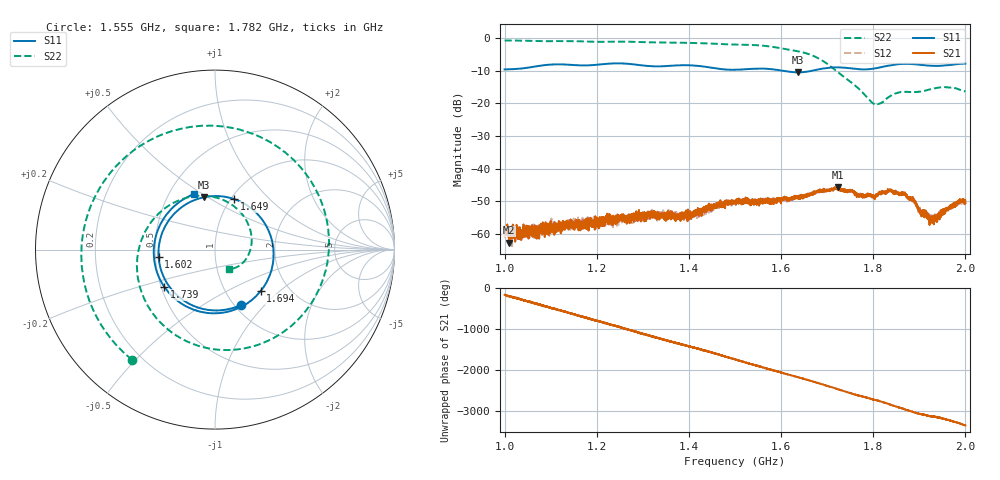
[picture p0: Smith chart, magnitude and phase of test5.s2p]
!Keysight Technologies N9923A: A.08.15
!Date: Friday, 16 February 2024 15:25:30
!Timezone: (GMT-05:00) Eastern Time (US & Canada)
!Model: N9923A
!Serial: MY52412730
!GPS Latitude:
!GPS Longitude:
!GPS TimeStamp: 0001-01-01 00:00:00Z
!GPS Seconds Since Last Read: 0
!CHECKSUM:0506076467
!Correction: S11(ON Q)S21(ON Q)S12(ON Q)S22(ON Q)
!S2P File: Measurements:S11,S21,S12,S22:
# Hz S DB R 50
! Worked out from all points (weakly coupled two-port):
!   4001 points, 1 GHz to 2 GHz, reference 50 ohm
!   highest |S21| = -45.72 dB at 1.722 GHz (marker M1); lowest = -62.6 dB at 1.01 GHz (marker M2)
!   lowest |S11| = -10.5 dB at 1.636 GHz (marker M3), VSWR 1.85, Z = 37.7 + j24.2 ohm
!   |S11| at or under -10 dB: 1.603 GHz to 1.668 GHz (64.94 MHz wide, 3.97 % of centre)
!   |S22| runs from -20.3 to -0.8 dB; largest |S21 - S12| = 0.00086
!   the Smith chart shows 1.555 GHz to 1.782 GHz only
!   S11 on the Smith chart (normalised r, x): 1.555 GHz: 1.07, -0.75; 1.602 GHz: 0.52, -0.05; 1.649 GHz: 1.03, +0.64; 1.694 GHz: 1.45, -0.76; 1.739 GHz: 0.52, -0.25; 1.782 GHz: 0.66, +0.46
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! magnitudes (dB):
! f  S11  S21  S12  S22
! 1 GHz  -9.6  -58.5  -59.4  -0.8
! 1.01 GHz  -9.6  -62.6  -59.3  -0.8
! 1.036 GHz  -9.3  -59.0  -59.4  -0.8
! 1.167 GHz  -8.4  -58.3  -56.6  -1.0
! 1.333 GHz  -8.7  -54.2  -53.8  -1.4
! 1.406 GHz  -8.4  -54.7  -55.3  -1.5
! 1.5 GHz  -9.7  -50.4  -50.6  -2.0
! 1.555 GHz  -9.4  -49.9  -50.0  -2.3
! 1.602 GHz  -10.0  -49.1  -49.4  -3.2
! 1.636 GHz  -10.5  -48.9  -48.7  -4.1
! 1.649 GHz  -10.4  -48.5  -48.7  -4.5
! 1.667 GHz  -10.0  -47.9  -47.8  -5.3
! 1.694 GHz  -9.3  -46.8  -47.0  -7.3
! 1.722 GHz  -9.0  -45.7  -46.2  -10.3
! 1.739 GHz  -9.1  -46.5  -46.7  -12.2
! 1.782 GHz  -9.6  -48.6  -48.8  -17.5
! 1.806 GHz  -9.3  -47.9  -48.0  -20.3
! 1.833 GHz  -8.4  -46.7  -46.6  -18.1
! 1.868 GHz  -7.9  -47.5  -47.8  -16.5
! 1.927 GHz  -8.5  -55.7  -54.2  -15.6
! 1.986 GHz  -8.0  -50.2  -50.9  -15.7
! 2 GHz  -7.8  -50.4  -50.8  -16.4
